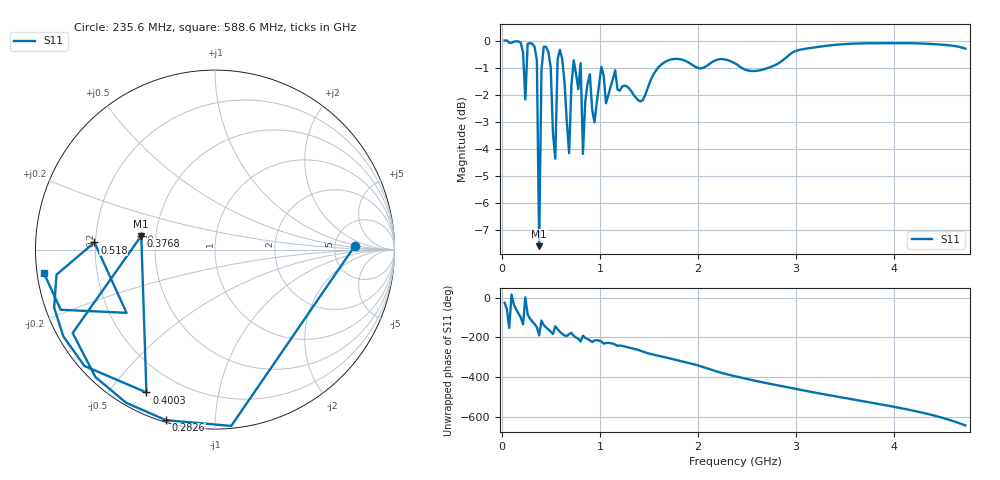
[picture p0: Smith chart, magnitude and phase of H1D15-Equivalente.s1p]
!Keysight Technologies N9923A: A.08.19
!Date: Thursday, 16 January 2020 11:30:00
!TimeZone: (GMT-03:00) Brasilia!Model: N9923A
!Serial: MY51491501
!GPS Latitude:
!GPS Longitude:
!GPS TimeStamp: 0001-01-01 00:00:00Z
!GPS Seconds Since Last Read: 0
!CHECKSUM:1078980270
!Correction: S11(ON U)
!S1P File: Measurement: S11:
# Hz S DB R 50
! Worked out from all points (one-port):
!   201 points, 23.74 MHz to 4.731 GHz, reference 50 ohm
!   lowest |S11| = -7.6 dB at 376.8 MHz (marker M1), VSWR 2.44, Z = 20.7 + j3.84 ohm
!   |S11| at or under -10 dB: nowhere
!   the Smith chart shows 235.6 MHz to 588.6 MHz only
!   S11 on the Smith chart (normalised r, x): 235.6 MHz: 7.96, +0.82; 282.6 MHz: 0.01, -0.75; 376.8 MHz: 0.41, +0.08; 400.3 MHz: 0.09, -0.63; 518 MHz: 0.20, +0.03; 588.6 MHz: 0.02, -0.07
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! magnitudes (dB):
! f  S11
! 23.74 MHz  0.0
! 188.5 MHz  -0.1
! 235.6 MHz  -2.2
! 282.6 MHz  -0.1
! 353.2 MHz  -0.7
! 376.8 MHz  -7.6
! 400.3 MHz  -1.1
! 470.9 MHz  -0.4
! 518 MHz  -3.4
! 541.5 MHz  -4.4
! 565.1 MHz  -0.7
! 588.6 MHz  -0.3
! 612.1 MHz  -0.7
! 682.8 MHz  -4.2
! 729.8 MHz  -0.7
! 800.4 MHz  -0.8
! 824 MHz  -4.2
! 894.6 MHz  -1.2
! 941.7 MHz  -3.0
! 1.012 GHz  -1.0
! 1.059 GHz  -2.3
! 1.201 GHz  -1.8
! 1.789 GHz  -0.7
! 2.377 GHz  -0.8
! 2.966 GHz  -0.4
! 3.554 GHz  -0.1
! 4.143 GHz  -0.1
! 4.731 GHz  -0.3
